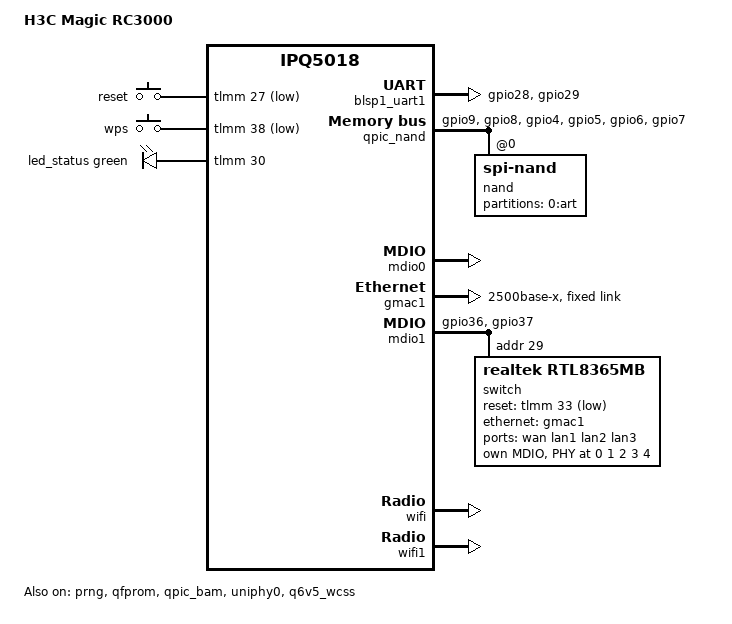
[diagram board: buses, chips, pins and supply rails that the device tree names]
// SPDX-License-Identifier: GPL-2.0-or-later OR MIT
//
// H3C Magic RC3000 —— 交换机变体: RTL8367S
//
// 只在交换机部分与 ipq5018-h3c-rc3000.dts 不同。
// 判定方法: 在路由器上执行  swconfig list  或  dmesg | grep -iE 'rtl8365mb|qca8k'
//   出现 rtl8367 / rtl8365 -> 用本文件
//   出现 qca8337 / qca8k   -> 用 ipq5018-h3c-rc3000.dts
// collect.sh 会自动判别，hwinfo2dts.py 会自动选。

/dts-v1/;

#include "ipq5018.dtsi"
#include "ipq5018-ess.dtsi"
#include "ipq5018-qcn6122.dtsi"

#include <dt-bindings/gpio/gpio.h>
#include <dt-bindings/input/input.h>
#include <dt-bindings/leds/common.h>

/ {
	model = "H3C Magic RC3000";
	compatible = "h3c,rc3000", "qcom,ipq5018";

	aliases {
		label-mac-device = <&gmac1>;

		led-boot = &led_status;
		led-failsafe = &led_status;
		led-running = &led_status;
		led-upgrade = &led_status;

		serial0 = &blsp1_uart1;
	};

	chosen {
		bootargs-append = " root=/dev/ubiblock0_1 swiotlb=1 coherent_pool=2M";
		stdout-path = "serial0:115200n8";
	};

	keys {
		compatible = "gpio-keys";
		pinctrl-0 = <&button_pins>;
		pinctrl-names = "default";

		// [VERIFY] GPIO 编号需实测
		button-reset {
			label = "reset";
			gpios = <&tlmm 27 GPIO_ACTIVE_LOW>;
			linux,code = <KEY_RESTART>;
		};

		button-wps {
			label = "wps";
			gpios = <&tlmm 38 GPIO_ACTIVE_LOW>;
			linux,code = <KEY_WPS_BUTTON>;
		};
	};

	leds {
		compatible = "gpio-leds";
		pinctrl-0 = <&led_pins>;
		pinctrl-names = "default";

		// [VERIFY] GPIO 编号需实测
		led_status: led-0 {
			gpios = <&tlmm 30 GPIO_ACTIVE_HIGH>;
			color = <LED_COLOR_ID_GREEN>;
			function = LED_FUNCTION_STATUS;
		};
	};
};

&sleep_clk {
	clock-frequency = <32000>;
};

&xo_board_clk {
	clock-div = <4>;
	clock-mult = <1>;
};

&blsp1_uart1 {
	status = "okay";

	pinctrl-0 = <&serial_0_pins>;
	pinctrl-names = "default";
};

&prng {
	status = "okay";
};

&qfprom {
	status = "okay";
};

&qpic_bam {
	status = "okay";
};

&qpic_nand {
	pinctrl-0 = <&qpic_pins>;
	pinctrl-names = "default";
	status = "okay";

	nand@0 {
		compatible = "spi-nand";
		reg = <0>;

		nand-ecc-engine = <&qpic_nand>;
		nand-ecc-step-size = <512>;
		nand-ecc-strength = <8>;
		nand-bus-width = <8>;

		partitions {
			compatible = "qcom,smem-part";

			partition-art {
				label = "0:art";
				read-only;

				nvmem-layout {
					compatible = "fixed-layout";
					#address-cells = <1>;
					#size-cells = <1>;

					macaddr_art_0: mac-address@0 {
						compatible = "mac-base";
						reg = <0x0 0x6>;
						#nvmem-cell-cells = <1>;
					};

					macaddr_art_6: mac-address@6 {
						compatible = "mac-base";
						reg = <0x6 0x6>;
						#nvmem-cell-cells = <1>;
					};

					macaddr_art_c: mac-address@c {
						compatible = "mac-base";
						reg = <0xc 0x6>;
						#nvmem-cell-cells = <1>;
					};

					macaddr_art_12: mac-address@12 {
						compatible = "mac-base";
						reg = <0x12 0x6>;
						#nvmem-cell-cells = <1>;
					};
				};
			};
		};
	};
};

/*
 * ===========================================================================
 *  Ethernet:
 *    IPQ5018 gmac1 -> uniphy0 PCS -> HSGMII -> RTL8367S DSA switch
 *    面板 4 个口全部是 RTL8367S 内置 PHY
 *
 *    注意: mdio0 必须保持使能。注册 ge_phy 会去复位 GCC_GEPHY_MISC_ARES，
 *    该复位同时门控 mdio1 共享的 MDC/MDIO 通路；关掉 mdio0 会导致
 *    RTL8367S 在 mdio1 上完全不响应（寄存器读回 0xffff）。
 *
 *    RTL8367S: mdio1 地址 29(0x1d)，reset GPIO 33（[VERIFY] 待实测）。
 * ===========================================================================
 */

&mdio0 {
	status = "okay";
};

&uniphy0 {
	status = "okay";

	assigned-clocks = <&uniphy0 UNIPHY_CLK_REF>;
	assigned-clock-rates = <UNIPHY_REFCLK_50MHZ>;
};

&gmac1 {
	status = "okay";

	phy-mode = "2500base-x";

	nvmem-cell-names = "mac-address";
	nvmem-cells = <&macaddr_art_6 (0)>;

	fixed-link {
		speed = <2500>;
		full-duplex;
	};
};

&mdio1 {
	status = "okay";

	pinctrl-0 = <&mdio1_pins>;
	pinctrl-names = "default";

	// [VERIFY] reset GPIO 33 取自同平台参照板，需实测
	switch@1d {
		compatible = "realtek,rtl8365mb";
		reg = <0x1d>;
		reset-gpios = <&tlmm 33 GPIO_ACTIVE_LOW>;

		mdio {
			compatible = "realtek,smi-mdio";
			#address-cells = <1>;
			#size-cells = <0>;

			switchphy0: ethernet-phy@0 {
				reg = <0>;
			};

			switchphy1: ethernet-phy@1 {
				reg = <1>;
			};

			switchphy2: ethernet-phy@2 {
				reg = <2>;
			};

			switchphy3: ethernet-phy@3 {
				reg = <3>;
			};

			switchphy4: ethernet-phy@4 {
				reg = <4>;
			};
		};

		ports {
			#address-cells = <1>;
			#size-cells = <0>;

			port@0 {
				reg = <0>;
				label = "wan";
				phy-handle = <&switchphy0>;

				nvmem-cells = <&macaddr_art_0 (0)>;
				nvmem-cell-names = "mac-address";
			};

			port@1 {
				reg = <1>;
				label = "lan1";
				phy-handle = <&switchphy1>;
			};

			port@2 {
				reg = <2>;
				label = "lan2";
				phy-handle = <&switchphy2>;
			};

			port@3 {
				reg = <3>;
				label = "lan3";
				phy-handle = <&switchphy3>;
			};

			port@6 {
				reg = <6>;
				ethernet = <&gmac1>;
				phy-mode = "2500base-x";

				fixed-link {
					speed = <2500>;
					full-duplex;
				};
			};
		};
	};
};

&tlmm {
	button_pins: button-state {
		button-pins {
			pins = "gpio27", "gpio38";
			function = "gpio";
			drive-strength = <8>;
			bias-pull-up;
		};
	};

	led_pins: led-state {
		pins = "gpio30";
		function = "gpio";
		drive-strength = <8>;
		bias-pull-down;
	};

	mdio1_pins: mdio-state {
		mdc-pins {
			pins = "gpio36";
			function = "mdc";
			drive-strength = <8>;
			bias-pull-up;
		};

		mdio-pins {
			pins = "gpio37";
			function = "mdio";
			drive-strength = <8>;
			bias-pull-up;
		};
	};

	qpic_pins: qpic-state {
		clock-pins {
			pins = "gpio9";
			function = "qspi_clk";
			drive-strength = <8>;
			bias-disable;
		};

		cs-pins {
			pins = "gpio8";
			function = "qspi_cs";
			drive-strength = <8>;
			bias-disable;
		};

		data-pins {
			pins = "gpio4", "gpio5", "gpio6", "gpio7";
			function = "qspi_data";
			drive-strength = <8>;
			bias-disable;
		};
	};

	serial_0_pins: uart0-state {
		pins = "gpio28", "gpio29";
		function = "blsp0_uart1";
		drive-strength = <8>;
		bias-disable;
	};
};

&q6v5_wcss {
	status = "okay";

	boot-args = <
		/*       type:	*/	0x1	/* PCIE0	*/
		/*     length:	*/	4
		/*     UPD ID:	*/	2
		/* reset GPIO:	*/	15
		/*   reserved:	*/	0 0>;
};

&wifi {
	// IPQ5018 集成 2.4G
	status = "okay";

	qcom,rproc = <&q6_wcss_pd1>;
	qcom,ath11k-calibration-variant = "H3C-RC3000";
	qcom,ath11k-fw-memory-mode = <1>;
	qcom,bdf-addr = <0x4c400000>;
};

&wifi1 {
	// QCN6102 5G
	status = "okay";

	qcom,rproc = <&q6_wcss_pd2>;
	qcom,userpd-subsys-name = "q6v5_wcss_userpd2";
	qcom,ath11k-calibration-variant = "H3C-RC3000";
	qcom,ath11k-fw-memory-mode = <1>;
	qcom,bdf-addr = <0x4d100000>;
	qcom,m3-dump-addr = <0x4df00000>;
};
